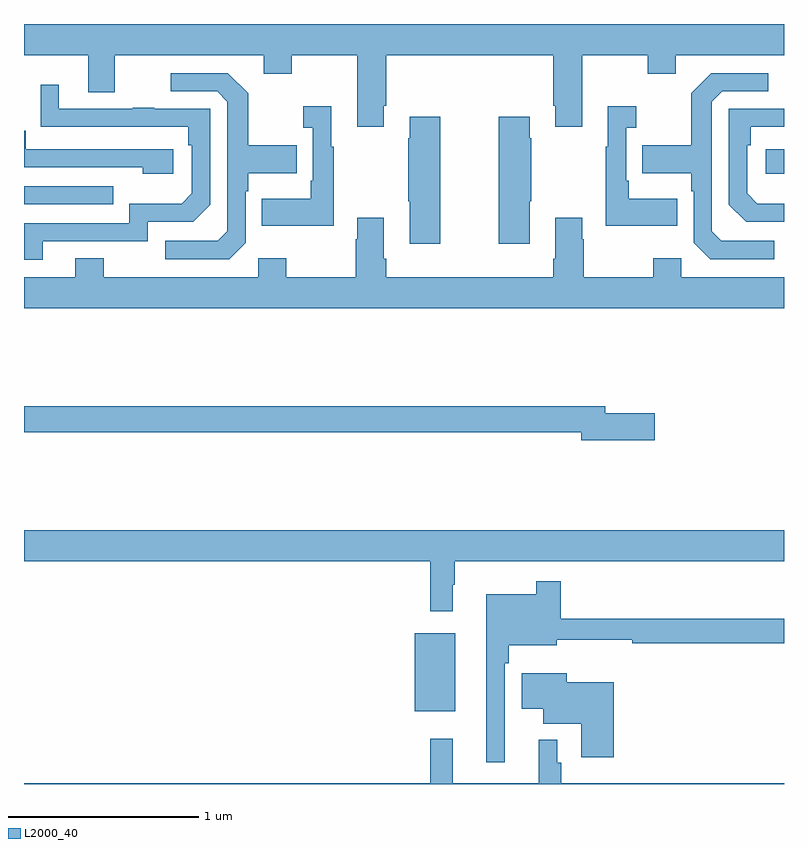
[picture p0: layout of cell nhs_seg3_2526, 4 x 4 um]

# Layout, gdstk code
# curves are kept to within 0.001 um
import gdstk
lib = gdstk.Library(unit=1e-6, precision=1e-09)
def R(c, l, rs):  # rectangles x0, y0, x1, y1
    for r in rs: c.add(gdstk.rectangle(r[:2], r[2:], *l))
def P(c, l, *ps):  # polygons
    for p in ps: c.add(gdstk.Polygon(p, *l))
L2000_40 = (2000, 40)

nhs_seg3_2526 = lib.new_cell('nhs_seg3_2526')
R(nhs_seg3_2526, L2000_40, [(243.056,710.783,243.271,711.193), (241,713.451,241.469,713.547), (244.905,713.612,245,713.742)])
P(nhs_seg3_2526, L2000_40, [(241,714.236),(241.337,714.236),(241.337,714.042),(241.477,714.042),(241.477,714.236),(242.261,714.236),(242.261,714.137),(242.409,714.137),(242.409,714.236),(242.753,714.236),(242.753,713.859),(242.893,713.859),(242.893,713.971),(242.906,713.971),(242.906,714.236),(243.785,714.236),(243.785,713.971),(243.797,713.971),(243.797,713.859),(243.937,713.859),(243.937,714.236),(244.282,714.236),(244.282,714.137),(244.429,714.137),(244.429,714.236),(245,714.236),(245,714.4),(241,714.4)],
  [(244.948,713.259),(244.671,713.259),(244.62,713.31),(244.62,713.991),(244.674,714.045),(244.918,714.045),(244.918,714.141),(244.617,714.141),(244.512,714.035),(244.512,713.763),(244.255,713.763),(244.255,713.615),(244.512,713.615),(244.512,713.519),(244.524,713.519),(244.524,713.25),(244.611,713.163),(244.948,713.163)],
  [(242.166,713.25),(242.166,713.519),(242.179,713.519),(242.179,713.615),(242.435,713.615),(242.435,713.763),(242.179,713.763),(242.179,714.035),(242.073,714.141),(241.773,714.141),(241.773,714.045),(242.016,714.045),(242.07,713.991),(242.07,713.31),(242.019,713.259),(241.743,713.259),(241.743,713.163),(242.079,713.163)],
  [(241.099,713.256),(241.65,713.256),(241.65,713.358),(241.89,713.358),(241.98,713.448),(241.98,713.955),(241.685,713.955),(241.685,713.96),(241.573,713.96),(241.573,713.955),(241.183,713.955),(241.183,714.079),(241.087,714.079),(241.087,713.86),(241.864,713.859),(241.864,713.762),(241.884,713.762),(241.884,713.508),(241.831,713.455),(241.554,713.455),(241.554,713.352),(241,713.352),(241,713.16),(241.099,713.16)],
  [(244.439,713.479),(244.183,713.479),(244.183,713.575),(244.17,713.575),(244.17,713.855),(244.222,713.855),(244.222,713.968),(244.073,713.968),(244.073,713.755),(244.062,713.755),(244.062,713.339),(244.439,713.339)],
  [(242.629,713.755),(242.617,713.755),(242.617,713.968),(242.469,713.968),(242.469,713.855),(242.52,713.855),(242.52,713.575),(242.508,713.575),(242.508,713.479),(242.251,713.479),(242.251,713.339),(242.629,713.339)],
  [(245,713.455),(244.859,713.455),(244.806,713.508),(244.806,713.762),(244.826,713.762),(244.826,713.859),(245,713.859),(245,713.955),(244.71,713.955),(244.71,713.448),(244.8,713.358),(245,713.358)],
  [(243.661,713.467),(243.669,713.467),(243.669,713.798),(243.661,713.798),(243.661,713.911),(243.499,713.911),(243.499,713.244),(243.661,713.244)],
  [(243.192,713.911),(243.029,713.911),(243.029,713.798),(243.022,713.798),(243.022,713.467),(243.029,713.467),(243.029,713.244),(243.192,713.244)],
  [(241.786,713.742),(241.009,713.742),(241.009,713.839),(241,713.839),(241,713.646),(241.625,713.646),(241.625,713.612),(241.786,713.612)],
  [(245,713.068),(244.458,713.068),(244.458,713.167),(244.312,713.167),(244.312,713.068),(243.945,713.068),(243.945,713.267),(243.937,713.267),(243.937,713.38),(243.797,713.38),(243.797,713.164),(243.785,713.164),(243.785,713.068),(242.906,713.068),(242.906,713.164),(242.893,713.164),(242.893,713.38),(242.753,713.38),(242.753,713.267),(242.746,713.267),(242.746,713.068),(242.379,713.068),(242.379,713.167),(242.232,713.167),(242.232,713.068),(241.419,713.068),(241.419,713.167),(241.271,713.167),(241.271,713.068),(241,713.068),(241,712.904),(245,712.904)],
  [(244.321,712.352),(244.06,712.352),(244.06,712.388),(241,712.388),(241,712.252),(243.932,712.252),(243.932,712.21),(244.321,712.21)],
  [(243.256,711.449),(243.268,711.449),(243.268,711.572),(245,711.572),(245,711.736),(241,711.736),(241,711.572),(243.139,711.572),(243.139,711.309),(243.256,711.309)],
  [(243.531,711.035),(243.551,711.035),(243.551,711.131),(243.805,711.131),(243.805,711.16),(244.201,711.16),(244.201,711.142),(245,711.142),(245,711.271),(243.824,711.271),(243.824,711.466),(243.696,711.466),(243.696,711.4),(243.434,711.4),(243.434,710.514),(243.531,710.514)],
  [(244.103,710.935),(243.856,710.935),(243.856,710.983),(243.62,710.983),(243.62,710.795),(243.734,710.795),(243.734,710.717),(243.932,710.717),(243.932,710.541),(244.103,710.541)],
  [(245,710.404),(243.827,710.404),(243.827,710.511),(243.807,710.511),(243.807,710.632),(243.71,710.632),(243.71,710.404),(243.257,710.404),(243.257,710.638),(243.139,710.638),(243.139,710.404),(241,710.404),(241,710.4),(245,710.4)])

lib.write_gds('nhs_seg3_2526.gds')
